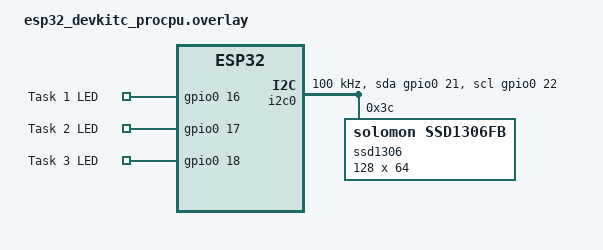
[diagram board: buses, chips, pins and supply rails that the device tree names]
/ {
    custom_gpio {
        compatible = "gpio-keys";

        task1_led: task1_led {
            gpios = <&gpio0 16 GPIO_ACTIVE_HIGH>;
            label = "Task 1 LED";
        };
        task2_led: task2_led {
            gpios = <&gpio0 17 GPIO_ACTIVE_HIGH>;
            label = "Task 2 LED";
        };
        task3_led: task3_led {
            gpios = <&gpio0 18 GPIO_ACTIVE_HIGH>;
            label = "Task 3 LED";
        };
    };

    chosen {
        task1_led = &task1_led;
        task2_led = &task2_led;
        task3_led = &task3_led;
        display = &ssd1306;
    };
};

// Optional: Add your SSD1306 configuration from the previous assignments and uncomment the *display* line above 
&i2c0 {
    status = "okay";
    clock-frequency = <I2C_BITRATE_STANDARD>;
    sda-gpios = <&gpio0 21 GPIO_OPEN_DRAIN>;
    scl-gpios = <&gpio0 22 GPIO_OPEN_DRAIN>;
    pinctrl-0 = <&i2c0_default>;
    pinctrl-names = "default";

    ssd1306: ssd1306@3c {
        compatible = "solomon,ssd1306fb";
        reg = <0x3c>;
        width = <128>;
        height = <64>;
        segment-offset = <0>;
        page-offset = <0>;
        display-offset = <0>;
        segment-remap;
        com-invdir;
        multiplex-ratio = <63>;
        prechargep = <0x22>;
    };
};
